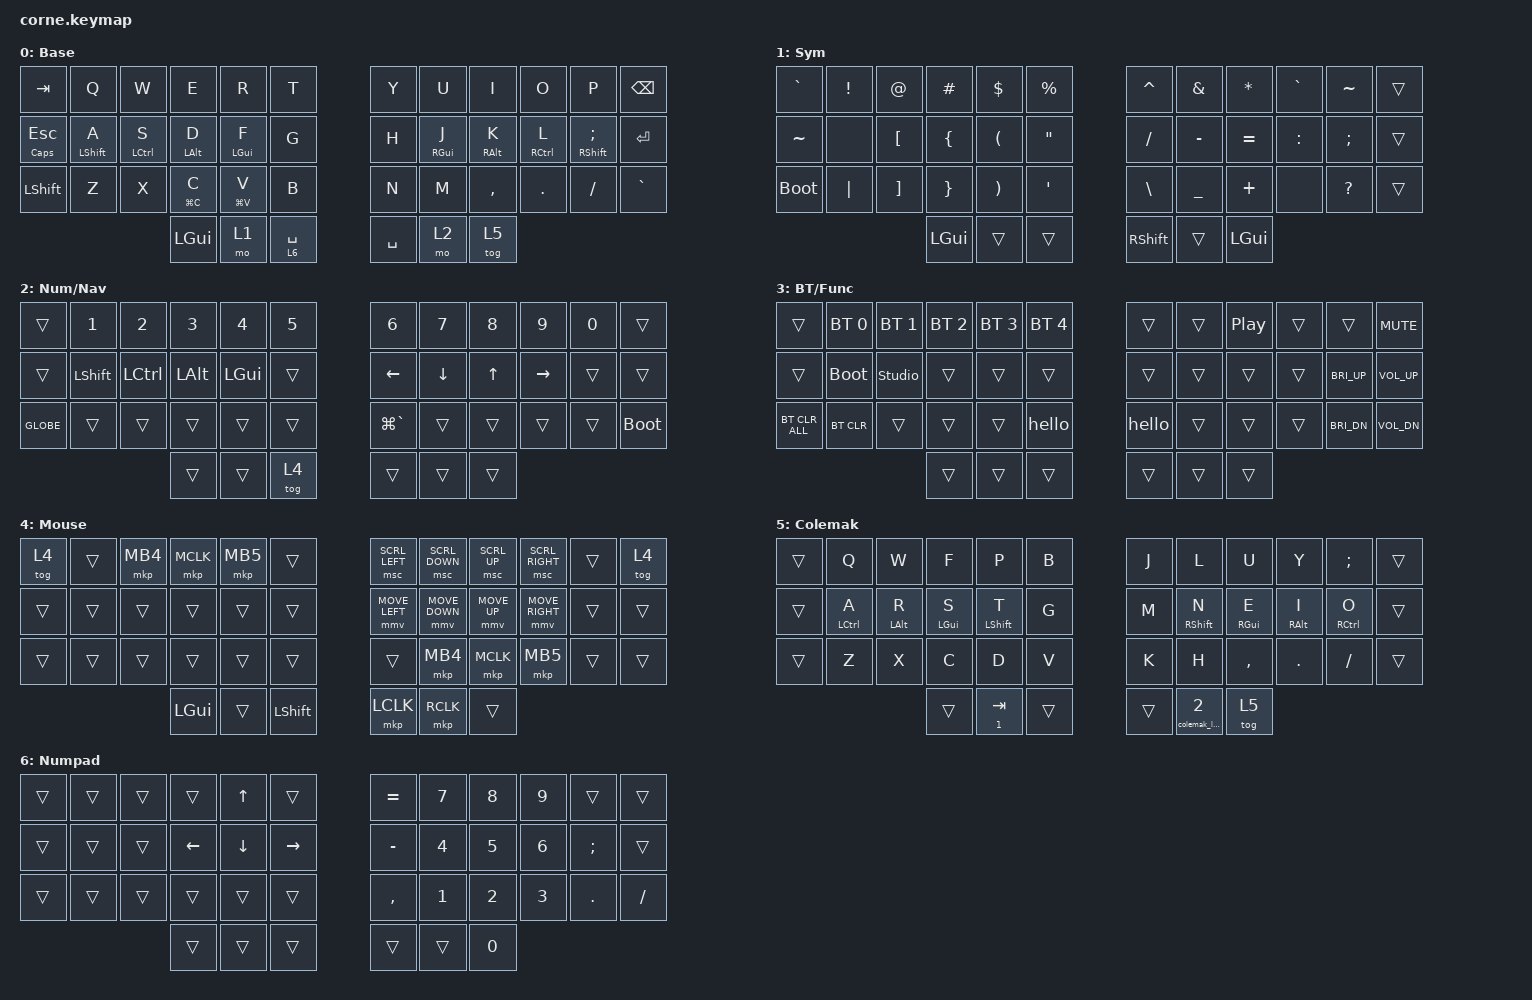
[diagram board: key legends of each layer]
/*
 * Copyright (c) 2020 The ZMK Contributors
 *
 * SPDX-License-Identifier: MIT
 */
/*                                      42 KEY MATRIX / LAYOUT MAPPING

  ╭────────────────────────┬────────────────────────╮ ╭─────────────────────────┬─────────────────────────╮
  │  0   1   2   3   4   5 │  6   7   8   9  10  11 │ │ LT5 LT4 LT3 LT2 LT1 LT0 │ RT0 RT1 RT2 RT3 RT4 RT5 │
  │ 12  13  14  15  16  17 │ 18  19  20  21  22  23 │ │ LM5 LM4 LM3 LM2 LM1 LM0 │ RM0 RM1 RM2 RM3 RM4 RM5 │
  │ 24  25  26  27  28  29 │ 30  31  32  33  34  35 │ │ LB5 LB4 LB3 LB2 LB1 LB0 │ RB0 RB1 RB2 RB3 RB4 RB5 │
  ╰───────────╮ 36  37  38 │ 39  40  41 ╭───────────╯ ╰───────────╮ LH2 LH1 LH0 │ RH0 RH1 RH2 ╭───────────╯
              ╰────────────┴────────────╯                         ╰─────────────┴─────────────╯             */

#define ZMK_POINTING_DEFAULT_MOVE_VAL 2500  // 600
#define ZMK_POINTING_DEFAULT_SCRL_VAL 20    // 10

#include <behaviors.dtsi>
#include <dt-bindings/zmk/bt.h>
#include <dt-bindings/zmk/keys.h>
#include <dt-bindings/zmk/pointing.h>

//#include <dt-bindings/zmk/mouse.h>
// Home row mods macro (CAGS for MacOS)

#define HRML(k1,k2,k3,k4) &thm LCTRL k1  &thm LALT k2  &thm LGUI k3  &thm LSHFT k4
#define HRMR(k1,k2,k3,k4) &thm RSHFT k1  &thm RGUI k2  &thm RALT k3  &thm RCTRL k4

/ {
    behaviors {
        thm: timerless_homerow_mods {
            label = "timerless_homerow_mods";
            compatible = "zmk,behavior-hold-tap";
            #binding-cells = <2>;
            flavor = "balanced";
            tapping-term-ms = <200>;
            quick-tap-ms = <200>; // repeat on quick tap+hold
            require-prior-idle-ms = <120>; // disable hold-tap when typing quickly, remove input delay
            bindings = <&kp>, <&kp>;

            hold-trigger-on-release; // delay positional check until key-release
        };

        mlt: my_layer_tap {
            label = "my_layer_tap";
            compatible = "zmk,behavior-hold-tap";
            #binding-cells = <2>;
            flavor = "balanced";
            tapping-term-ms = <200>;
            quick-tap-ms = <200>; // repeat on tap-into-hold
            require-prior-idle-ms = <120>; // disable hold-tap when typing quickly, remove input delay
            bindings = <&mo>, <&kp>;

            hold-trigger-on-release; // delay positional check until key-release
        };

        colemak_lt: colemak_layer_tap {
            compatible = "zmk,behavior-hold-tap";
            #binding-cells = <2>;
            flavor = "tap-preferred";
            tapping-term-ms = <200>;
            bindings = <&colemak_layer>, <&kp>;
        };
    };

    combos {
        compatible = "zmk,combos";

        combo_lbkt {
            bindings = <&kp LBKT>;
            key-positions = <28 29>; // vb
            timeout-ms = <50>;
            layers = <0>;
        };

        combo_rbkt {
            bindings = <&kp RBKT>;
            key-positions = <30 31>; // nm
            timeout-ms = <50>;
            layers = <0>;
        };

        combo_lbrc {
            bindings = <&kp LBRC>;
            key-positions = <16 17>; // fg
            timeout-ms = <50>;
            layers = <0>;
        };

        combo_rbrc {
            bindings = <&kp RBRC>;
            key-positions = <18 19>; // hj
            timeout-ms = <50>;
            layers = <0>;
        };

        combo_tab_prev {
            bindings = <&kp LC(LS(TAB))>;
            key-positions = <14 15>; // sd
            timeout-ms = <50>;
            layers = <0>;
        };

        combo_tab_next {
            bindings = <&kp LC(TAB)>;
            key-positions = <15 16>; // df
            timeout-ms = <50>;
            layers = <0>;
        };

        combo_back {
            bindings = <&kp BACKSLASH>;
            key-positions = <33 34>;// ,.
            timeout-ms = <50>;
            layers = <0>;
        };

        combo_todo {
            bindings = <&todo>;
            key-positions = <17 18>; // gh
            layers = <0>;
            timeout-ms = <50>;
        };

        combo_pipe {
            bindings = <&kp PIPE>;
            key-positions = <34 22>;
        };

        combo_tilde {
            bindings = <&kp TILDE>;
            key-positions = <11 10>;
        };

        combo_lpar {
            bindings = <&kp LPAR>;
            key-positions = <4 5>;
        };

        combo_rpar {
            bindings = <&kp RPAR>;
            key-positions = <6 7>;
        };

        combo_grave {
            bindings = <&kp GRAVE>;
            key-positions = <12 13>;
        };

        combo_input {
            bindings = <&kp LA(LC(SPACE))>;
            key-positions = <0 1>;
        };

        combo_colon {
            bindings = <&kp COLON>;
            key-positions = <22 21>;
        };

        combo_at {
            bindings = <&kp AT_SIGN>;
            key-positions = <3 4>;
        };

        combo_hash {
            bindings = <&kp HASH>;
            key-positions = <7 8>;
        };

        combo_esc {
            bindings = <&kp ESC>;
            key-positions = <19 20>;
        };
    };

    macros {
        // - [ ]

        todo: todo {
            compatible = "zmk,behavior-macro";
            label = "TODO";
            #binding-cells = <0>;
            wait-ms = <0>;
            tap-ms = <0>;
            bindings = <&kp MINUS &kp SPACE &kp LBKT &kp SPACE &kp RBKT &kp SPACE>;
        };

        hello: hello {
            compatible = "zmk,behavior-macro";
            #binding-cells = <0>;
            bindings = <&kp H &kp E &kp L &kp L &kp O>;
            label = "HELLO";
        };

        layer_alt: layer_alt {
            compatible = "zmk,behavior-macro";
            #binding-cells = <0>;
            bindings =
                <&macro_press>,
                <&mo 2 &kp LALT>,
                <&macro_pause_for_release>,
                <&macro_release>,
                <&kp LALT &mo 2>;

            label = "LAYER_ALT";
        };

        layer_gui: layer_gui {
            compatible = "zmk,behavior-macro";
            #binding-cells = <0>;
            bindings =
                <&macro_press>,
                <&mo 2 &kp LGUI>,
                <&macro_pause_for_release>,
                <&macro_release>,
                <&kp LGUI &mo 2>;

            label = "LAYER_GUI";
        };

        colemak_layer: colemak_layer {
            compatible = "zmk,behavior-macro-one-param";
            #binding-cells = <1>;
            wait-ms = <0>;
            tap-ms = <0>;
            bindings =
                <&macro_press>,
                <&tog 5 &macro_param_1to1 &mo MACRO_PLACEHOLDER>,
                <&macro_pause_for_release>,
                <&macro_release>,
                <&macro_param_1to1 &mo MACRO_PLACEHOLDER>,
                <&macro_press>,
                <&tog 5>;
        };
    };

    keymap {
        compatible = "zmk,keymap";

        default_layer {
            display-name = "Base";
            bindings = <
&kp TAB        &kp Q          &kp W         &kp E         &kp R         &kp T          &kp Y      &kp U        &kp I        &kp O         &kp P             &kp BACKSPACE
&thm CAPS ESC  &thm LSHIFT A  &thm LCTRL S  &thm LALT D   &thm LGUI F   &kp G          &kp H      &thm RGUI J  &thm RALT K  &thm RCTRL L  &thm RSHIFT SEMI  &kp ENTER
&kp LSHFT      &kp Z          &kp X         &thm LG(C) C  &thm LG(V) V  &kp B          &kp N      &kp M        &kp COMMA    &kp DOT       &kp SLASH         &kp GRAVE
                                            &kp LGUI      &mo 1         &lt 6 SPACE    &kp SPACE  &mo 2        &tog 5
            >;
        };

        SYM {
            display-name = "Sym";
            bindings = <
&kp GRAVE    &kp EXCL  &kp AT    &kp HASH      &kp DLLR  &kp PRCNT    &kp CARET   &kp AMPS   &kp STAR   &kp GRAVE  &kp TILDE  &trans
&kp TILDE    &none     &kp LBKT  &kp LBRC      &kp LPAR  &kp DQT      &kp FSLH    &kp MINUS  &kp EQUAL  &kp COLON  &kp SEMI   &trans
&bootloader  &kp PIPE  &kp RBKT  &kp RBRC      &kp RPAR  &kp SQT      &kp BSLH    &kp UNDER  &kp PLUS   &none      &kp QMARK  &trans
                                 &kp LEFT_GUI  &trans    &trans       &kp RSHIFT  &trans     &kp LGUI
            >;
        };

        NUM_NAV {
            display-name = "Num/Nav";
            bindings = <
&trans     &kp N1      &kp N2     &kp N3    &kp N4    &kp N5    &kp N6         &kp N7    &kp N8  &kp N9     &kp N0  &trans
&trans     &kp LSHIFT  &kp LCTRL  &kp LALT  &kp LGUI  &trans    &kp LEFT       &kp DOWN  &kp UP  &kp RIGHT  &trans  &trans
&kp GLOBE  &trans      &trans     &trans    &trans    &trans    &kp LG(GRAVE)  &trans    &trans  &trans     &trans  &bootloader
                                  &trans    &trans    &tog 4    &trans         &trans    &trans
            >;
        };

        BT_FUNC {
            display-name = "BT/Func";
            bindings = <
&trans          &bt BT_SEL 0  &bt BT_SEL 1  &bt BT_SEL 2  &bt BT_SEL 3  &bt BT_SEL 4    &trans    &trans  &kp C_PP  &trans  &trans        &kp K_MUTE
&trans          &bootloader   &studio_unlock &trans       &trans        &trans          &trans    &trans  &trans    &trans  &kp C_BRI_UP  &kp C_VOL_UP
&bt BT_CLR_ALL  &bt BT_CLR    &trans        &trans        &trans        &hello        &hello  &trans  &trans    &trans  &kp C_BRI_DN  &kp C_VOL_DN
                                            &trans        &trans        &trans          &trans    &trans  &trans
            >;
        };

        layer_mouse {
            display-name = "Mouse";
            bindings = <
&tog 4  &trans  &mkp MB4  &mkp MCLK  &mkp MB5  &trans       &msc SCRL_LEFT  &msc SCRL_DOWN  &msc SCRL_UP  &msc SCRL_RIGHT  &trans  &tog 4
&trans  &trans  &trans    &trans     &trans    &trans       &mmv MOVE_LEFT  &mmv MOVE_DOWN  &mmv MOVE_UP  &mmv MOVE_RIGHT  &trans  &trans
&trans  &trans  &trans    &trans     &trans    &trans       &trans          &mkp MB4        &mkp MCLK     &mkp MB5         &trans  &trans
                          &kp LGUI   &trans    &kp LSHFT    &mkp LCLK       &mkp RCLK       &trans
            >;
        };

        ColmakDH {
            display-name = "Colemak";
            bindings = <
&trans  &kp Q         &kp W        &kp F        &kp P              &kp B     &kp J   &kp L             &kp U        &kp Y        &kp SEMI      &trans
&trans  &thm LCTRL A  &thm LALT R  &thm LGUI S  &thm LSHFT T       &kp G     &kp M   &thm RSHIFT N     &thm RGUI E  &thm RALT I  &thm RCTRL O  &trans
&trans  &kp Z         &kp X        &kp C        &kp D              &kp V     &kp K   &kp H             &kp COMMA    &kp DOT      &kp FSLH      &trans
                                   &trans       &colemak_lt 1 TAB  &trans    &trans  &colemak_layer 2  &tog 5
            >;
        };

        numpad {
            display-name = "Numpad";
            bindings = <
&trans  &trans  &trans  &trans    &kp UP    &trans       &kp EQUAL  &kp N7  &kp N8  &kp N9  &trans    &trans
&trans  &trans  &trans  &kp LEFT  &kp DOWN  &kp RIGHT    &kp MINUS  &kp N4  &kp N5  &kp N6  &kp SEMI  &trans
&trans  &trans  &trans  &trans    &trans    &trans       &kp COMMA  &kp N1  &kp N2  &kp N3  &kp DOT   &kp FSLH
                        &trans    &trans    &trans       &trans     &trans  &kp N0
            >;
        };
    };

    conditional_layers {
        compatible = "zmk,conditional-layers";

        tri_layer {
            if-layers = <1 2>;
            then-layer = <3>;
        };
    };
};
